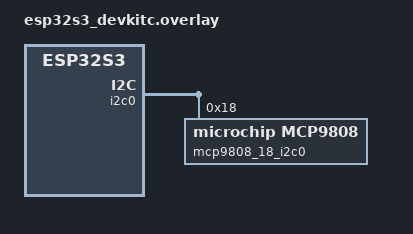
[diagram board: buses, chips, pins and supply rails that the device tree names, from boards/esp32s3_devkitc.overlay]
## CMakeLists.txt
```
cmake_minimum_required(VERSION 3.20.0)

# Add additional modules (before find_package)
set(ZEPHYR_EXTRA_MODULES "${CMAKE_SOURCE_DIR}/../../modules/mcp9808")

find_package(Zephyr REQUIRED HINTS $ENV{ZEPHYR_BASE})
project(read_temp)

target_sources(app PRIVATE src/main.c)
```

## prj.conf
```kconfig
CONFIG_GPIO=y
CONFIG_SENSOR=y
CONFIG_I2C=y
CONFIG_MCP9808=y
CONFIG_LOG=y
CONFIG_LOG_DEFAULT_LEVEL=4
```

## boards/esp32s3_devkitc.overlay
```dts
// Create an alias for our MCP9808 device
/ {
    aliases {
        my-mcp9808 = &mcp9808_18_i2c0;
    };
};

// Add custom pins to the node labeled "pinctrl"
&pinctrl {

	// Configure custom pin settings for I2C bus 0
    i2c0_custom_pins: i2c0_custom_pins {

		// Custom group name
        group1 {
            pinmux = <I2C0_SDA_GPIO15>, <I2C0_SCL_GPIO16>;	// SDA on GPIO15, SCL on GPIO16
            bias-pull-up; 									// Enable pull-up resistors for both pins
            drive-open-drain; 								// Required for I2C
            output-high; 									// Start with lines high (inactive state)
        };
    };
};

// Enable I2C0 and add MCP9808 sensor
&i2c0 {
    pinctrl-0 = <&i2c0_custom_pins>; 						// Use the custom pin configuration
    status = "okay"; 										// Enable I2C0 interface

	// Label: name of our device node
    mcp9808_18_i2c0: mcp9808@18 {
        compatible = "microchip,mcp9808"; 					// Specify device bindings/driver
        reg = <0x18>; 										// I2C address of the MCP9808
        status = "okay"; 									// Enable the MCP9808 sensor
        resolution = <3>; 									// Set the resolution
    };
};
```

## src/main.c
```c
#include <stdio.h>
#include <zephyr/kernel.h>
#include <zephyr/device.h>
#include <zephyr/drivers/sensor.h>

// Settings
static const int32_t sleep_time_ms = 1000;

// Get Devicetree configurations
static const struct device *const mcp = DEVICE_DT_GET(DT_ALIAS(my_mcp9808));

int main(void)
{
	
	int ret;

    // Check if the MCP9808 has been initialized (init function called)
	if (!device_is_ready(mcp)) {
		printk("Device %s is not ready.\n", mcp->name);
		return 0;
	}

    // Do forever
    while (1) 
    {
        struct sensor_value tmp;

        // Fetch the temperature value from the sensor into the device's data structure
        ret = sensor_sample_fetch(mcp);
        if (ret < 0) {
            printk("Sample fetch error: %d\n", ret);
            return 0;
        }

        // Copy the temperature value from the device's data structure into the tmp struct
        ret = sensor_channel_get(mcp, SENSOR_CHAN_AMBIENT_TEMP, &tmp);
        if (ret < 0) {
            printk("Channel get error: %d\n", ret);
            return 0;
        }

        // Print the temperature value 
        printk("Temperature: %d.%06d\n", tmp.val1, tmp.val2);

        // Sleep
        k_msleep(sleep_time_ms);
    }
    
    return 0;
}
```
